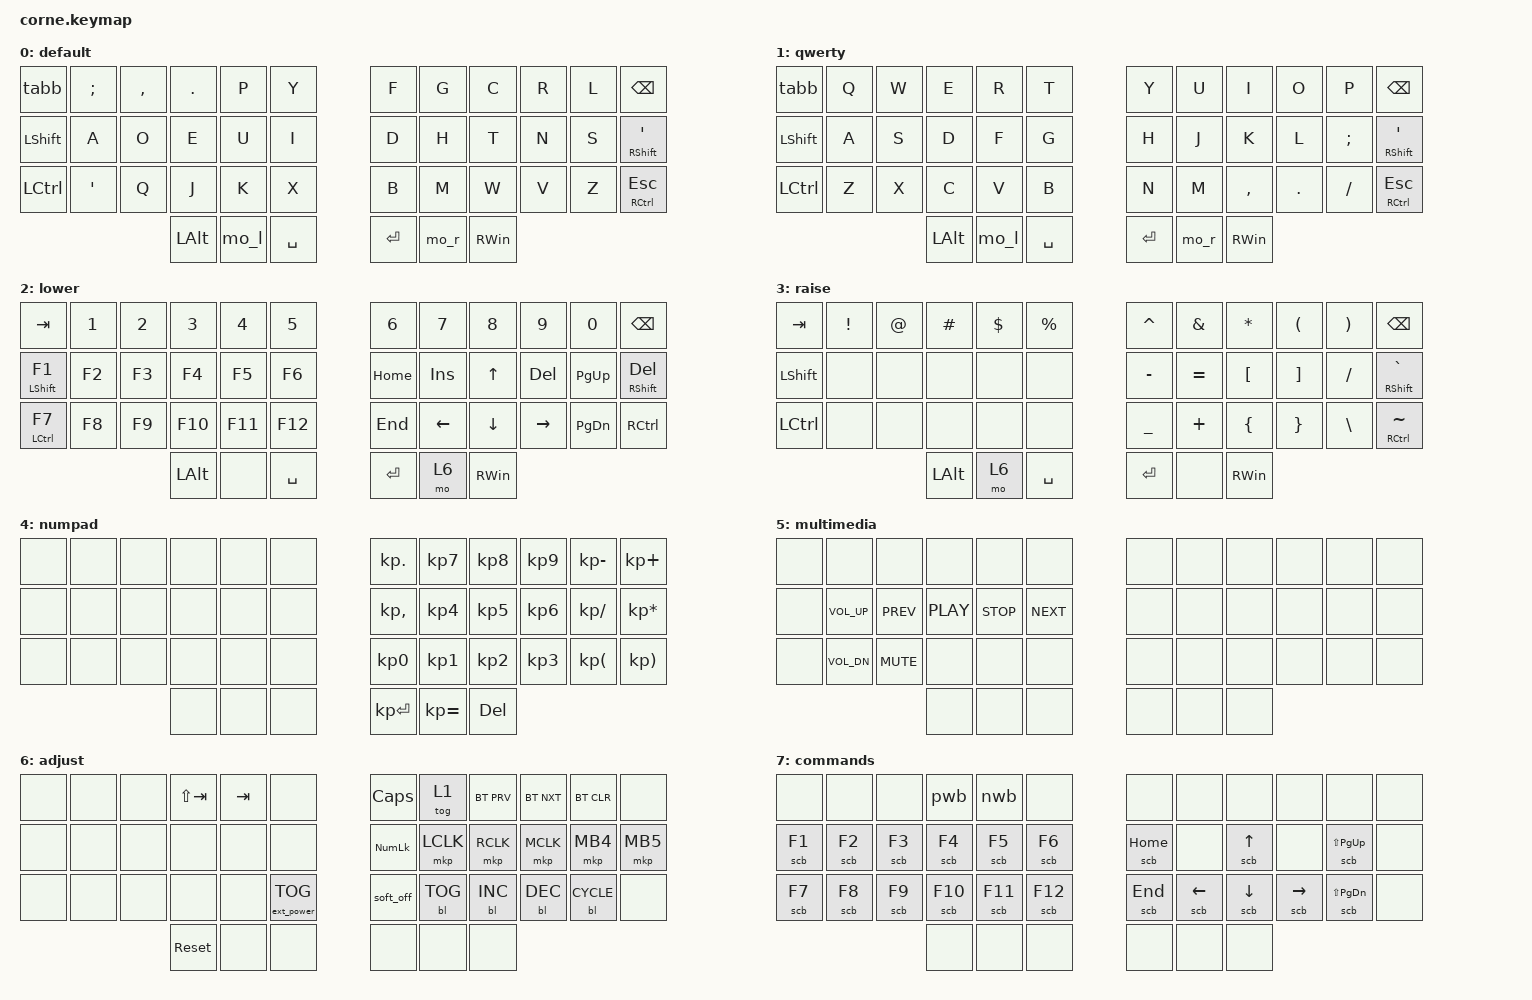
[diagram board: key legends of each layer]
#include <behaviors.dtsi>
#include <dt-bindings/zmk/backlight.h>
#include <dt-bindings/zmk/bt.h>
#include <dt-bindings/zmk/ext_power.h>
#include <dt-bindings/zmk/keys.h>
#include <dt-bindings/zmk/mouse.h>

/ {
    behaviors {
        mo_l: momentary_layer_left {
            compatible = "zmk,behavior-tap-dance";
            #binding-cells = <0>;
            bindings = <&mo 2>, <&mo 4>;

            tapping-term-ms = <200>;
            label = "Momentary layers left";
        };

        mo_r: momentary_layer_right {
            compatible = "zmk,behavior-tap-dance";
            #binding-cells = <0>;
            bindings = <&mo 3>, <&mo 5>;

            tapping-term-ms = <200>;
            label = "Momentary layers right";
        };
    };

    macros {
        tabb: tab_behavior {
            compatible = "zmk,behavior-macro";
            #binding-cells = <0>;
            bindings =
                <&macro_press>,
                <&lt 7 TAB>,
                <&macro_pause_for_release>,
                <&macro_release>,
                <&lt 7 TAB &kp LALT>;

            label = "Tab behavior";
        };

        nwb: next_window_behavior {
            compatible = "zmk,behavior-macro";
            #binding-cells = <0>;
            bindings =
                <&macro_press>,
                <&kp LALT>,
                <&macro_tap>,
                <&kp TAB>;

            label = "Next Win";
        };

        pwb: prev_window_behavior {
            compatible = "zmk,behavior-macro";
            #binding-cells = <0>;
            bindings =
                <&macro_press>,
                <&kp LALT>,
                <&macro_tap>,
                <&kp LSHIFT &kp TAB>;

            label = "Prev Win";
        };

        scb: special_command_behavior {
            compatible = "zmk,behavior-macro-one-param";
            #binding-cells = <1>;
            bindings =
                <&macro_release>,
                <&kp LALT>,
                <&macro_tap>,
                <&macro_param_1to1 &kp MACRO_PLACEHOLDER>,
                <&macro_press>;

            label = "Special command";
        };
    };

    keymap {
        compatible = "zmk,keymap";

        default {
            bindings = <
&tabb      &kp SEMI  &kp COMMA  &kp DOT   &kp P  &kp Y        &kp F    &kp G  &kp C          &kp R  &kp L  &kp BSPC
&kp LSHFT  &kp A     &kp O      &kp E     &kp U  &kp I        &kp D    &kp H  &kp T          &kp N  &kp S  &mt RIGHT_SHIFT SQT
&kp LCTRL  &kp SQT   &kp Q      &kp J     &kp K  &kp X        &kp B    &kp M  &kp W          &kp V  &kp Z  &mt RIGHT_CONTROL ESC
                                &kp LALT  &mo_l  &kp SPACE    &kp RET  &mo_r  &kp RIGHT_WIN
            >;
        };

        qwerty {
            bindings = <
&tabb      &kp Q  &kp W  &kp E     &kp R  &kp T        &kp Y    &kp U  &kp I          &kp O    &kp P     &kp BSPC
&kp LSHFT  &kp A  &kp S  &kp D     &kp F  &kp G        &kp H    &kp J  &kp K          &kp L    &kp SEMI  &mt RSHIFT SQT
&kp LCTRL  &kp Z  &kp X  &kp C     &kp V  &kp B        &kp N    &kp M  &kp COMMA      &kp DOT  &kp FSLH  &mt RCTRL ESC
                         &kp LALT  &mo_l  &kp SPACE    &kp RET  &mo_r  &kp RIGHT_WIN
            >;
        };

        lower {
            bindings = <
&kp TAB       &kp N1  &kp N2  &kp N3    &kp N4   &kp N5       &kp N6    &kp N7    &kp N8         &kp N9     &kp N0     &kp BACKSPACE
&mt LSHFT F1  &kp F2  &kp F3  &kp F4    &kp F5   &kp F6       &kp HOME  &kp INS   &kp UP         &kp DEL    &kp PG_UP  &mt RSHIFT DEL
&mt LCTRL F7  &kp F8  &kp F9  &kp F10   &kp F11  &kp F12      &kp END   &kp LEFT  &kp DOWN       &kp RIGHT  &kp PG_DN  &kp RCTRL
                              &kp LALT  &none    &kp SPACE    &kp RET   &mo 6     &kp RIGHT_WIN
            >;
        };

        raise {
            bindings = <
&kp TAB     &kp EXCL  &kp AT  &kp HASH  &kp DLLR  &kp PRCNT    &kp CARET  &kp AMPS   &kp STAR       &kp LPAR  &kp RPAR  &kp BACKSPACE
&kp LSHIFT  &none     &none   &none     &none     &none        &kp MINUS  &kp EQUAL  &kp LBKT       &kp RBKT  &kp FSLH  &mt RSHIFT GRAVE
&kp LCTRL   &none     &none   &none     &none     &none        &kp UNDER  &kp PLUS   &kp LBRC       &kp RBRC  &kp BSLH  &mt RCTRL TILDE
                              &kp LALT  &mo 6     &kp SPACE    &kp RET    &none      &kp RIGHT_WIN
            >;
        };

        numpad {
            bindings = <
&none  &none  &none  &none  &none  &none    &kp KP_DOT    &kp KP_N7     &kp KP_N8  &kp KP_N9  &kp KP_MINUS   &kp KP_PLUS
&none  &none  &none  &none  &none  &none    &kp KP_COMMA  &kp KP_N4     &kp KP_N5  &kp KP_N6  &kp KP_DIVIDE  &kp KP_MULTIPLY
&none  &none  &none  &none  &none  &none    &kp KP_N0     &kp KP_N1     &kp KP_N2  &kp KP_N3  &kp KP_LPAR    &kp KP_RPAR
                     &none  &none  &none    &kp KP_ENTER  &kp KP_EQUAL  &kp DEL
            >;
        };

        multimedia {
            bindings = <
&none  &none         &none       &none       &none       &none         &none  &none  &none  &none  &none  &none
&none  &kp C_VOL_UP  &kp K_PREV  &kp C_PLAY  &kp C_STOP  &kp C_NEXT    &none  &none  &none  &none  &none  &none
&none  &kp C_VOL_DN  &kp C_MUTE  &none       &none       &none         &none  &none  &none  &none  &none  &none
                                 &none       &none       &none         &none  &none  &none
            >;
        };

        adjust {
            bindings = <
&none  &none  &none  &kp LS(TAB)  &kp TAB  &none                &kp CAPSLOCK  &tog 1      &bt BT_PRV  &bt BT_NXT  &bt BT_CLR    &none
&none  &none  &none  &none        &none    &none                &kp KP_NUM    &mkp LCLK   &mkp RCLK   &mkp MCLK   &mkp MB4      &mkp MB5
&none  &none  &none  &none        &none    &ext_power EP_TOG    &soft_off     &bl BL_TOG  &bl BL_INC  &bl BL_DEC  &bl BL_CYCLE  &none
                     &sys_reset   &none    &none                &none         &none       &none
            >;
        };

        commands {
            bindings = <
&none    &none    &none    &pwb      &nwb      &none       &none      &none            &none            &none             &none            &none
&scb F1  &scb F2  &scb F3  &scb F4   &scb F5   &scb F6     &scb HOME  &none            &scb UP_ARROW    &none             &scb LS(PG_UP)  &none
&scb F7  &scb F8  &scb F9  &scb F10  &scb F11  &scb F12    &scb END   &scb LEFT_ARROW  &scb DOWN_ARROW  &scb RIGHT_ARROW  &scb LS(PG_DN)  &none
                           &none     &none     &none       &none      &none            &none
            >;
        };
    };
};
